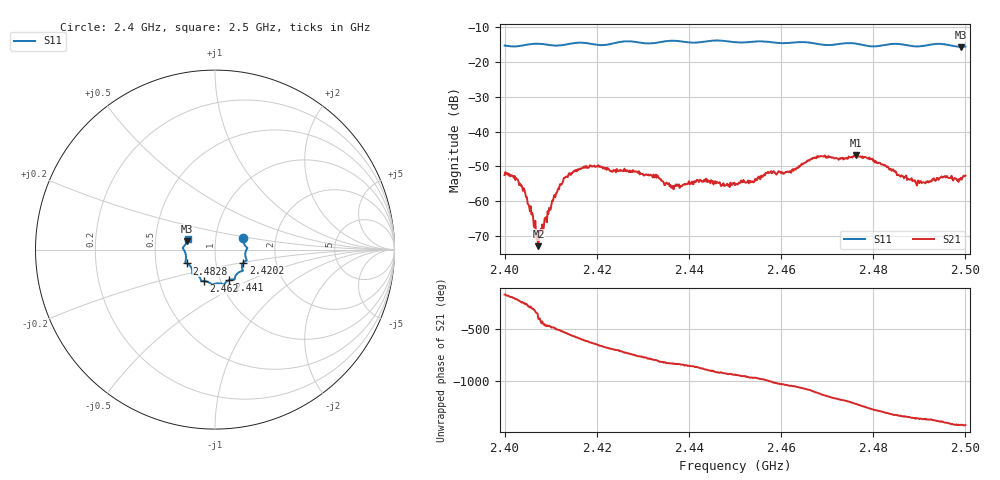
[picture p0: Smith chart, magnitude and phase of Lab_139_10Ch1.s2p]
# Hz S RI R 50
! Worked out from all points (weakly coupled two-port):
!   601 points, 2.4 GHz to 2.5 GHz, reference 50 ohm
!   highest |S21| = -46.85 dB at 2.4762 GHz (marker M1); lowest = -72.8 dB at 2.4073 GHz (marker M2)
!   lowest |S11| = -15.8 dB at 2.499 GHz (marker M3), VSWR 1.39, Z = 36.4 + j3.55 ohm
!   |S11| at or under -10 dB: start of sweep to end of sweep
!   S12 and S22 are empty: the file has one direction only
!   S11 on the Smith chart (normalised r, x): 2.4 GHz: 1.36, +0.17; 2.4202 GHz: 1.36, -0.20; 2.441 GHz: 1.10, -0.39; 2.462 GHz: 0.84, -0.30; 2.4828 GHz: 0.72, -0.11; 2.5 GHz: 0.73, +0.09
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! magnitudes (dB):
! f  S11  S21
! 2.4 GHz  -15.4  -52.5
! 2.4022 GHz  -15.7  -52.7
! 2.4038 GHz  -15.4  -56.0
! 2.4062 GHz  -14.9  -64.3
! 2.4068 GHz  -14.9  -69.9
! 2.4073 GHz  -14.9  -72.8
! 2.4125 GHz  -15.3  -54.8
! 2.4167 GHz  -14.6  -50.5
! 2.4202 GHz  -15.2  -50.0
! 2.4333 GHz  -14.5  -52.9
! 2.4363 GHz  -14.0  -56.1
! 2.441 GHz  -14.6  -55.1
! 2.45 GHz  -14.4  -55.4
! 2.4573 GHz  -14.3  -51.9
! 2.462 GHz  -14.6  -51.4
! 2.4667 GHz  -14.6  -48.0
! 2.4762 GHz  -14.8  -46.8
! 2.4828 GHz  -15.1  -49.9
! 2.4833 GHz  -15.0  -50.4
! 2.4897 GHz  -15.6  -54.1
! 2.499 GHz  -15.8  -53.2
! 2.5 GHz  -15.7  -52.7
